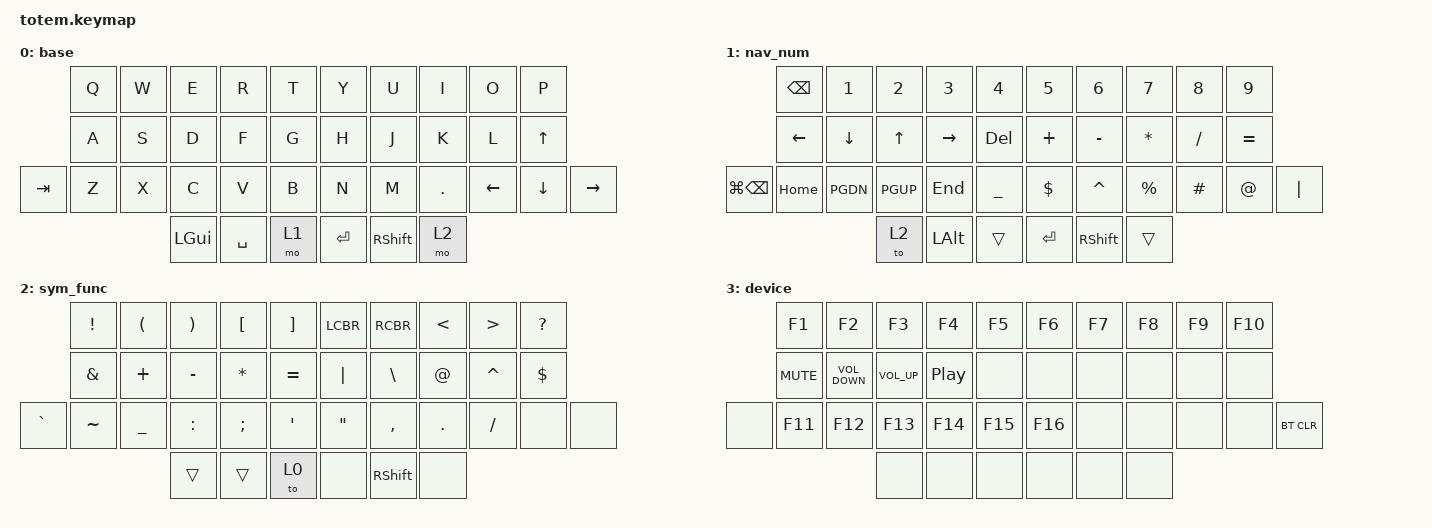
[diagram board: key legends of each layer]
//
//  TOTEM QWERTY PROGRAMMING LAYOUT (ZMK DTS)
//
//  Layers:
//  0 = Base (QWERTY)
//  1 = Nav + Numbers
//  2 = Symbols (coding)
//  3 = Function / System
//

#include <behaviors.dtsi>
#include <dt-bindings/zmk/bt.h>
#include <dt-bindings/zmk/keys.h>

/ {
    keymap {
        compatible = "zmk,keymap";

        //--------------------------------------------------
        // LAYER 0 — BASE QWERTY
        //--------------------------------------------------

        base {
            bindings = <
         &kp Q  &kp W  &kp E     &kp R      &kp T    &kp Y      &kp U            &kp I       &kp O     &kp P
         &kp A  &kp S  &kp D     &kp F      &kp G    &kp H      &kp J            &kp K       &kp L     &kp UP_ARROW
&kp TAB  &kp Z  &kp X  &kp C     &kp V      &kp B    &kp N      &kp M            &kp PERIOD  &kp LEFT  &kp DOWN      &kp RIGHT
                       &kp LGUI  &kp SPACE  &mo 1    &kp ENTER  &kp RIGHT_SHIFT  &mo 2
            >;
        };

        //--------------------------------------------------
        // LAYER 1 — NAV + NUM
        //--------------------------------------------------

        nav_num {
            bindings = <
              &kp BACKSPACE  &kp N1    &kp N2    &kp N3        &kp N4            &kp N5      &kp N6           &kp N7       &kp N8    &kp N9
              &kp LEFT       &kp DOWN  &kp UP    &kp RIGHT     &kp DELETE        &kp PLUS    &kp MINUS        &kp STAR     &kp FSLH  &kp EQUAL
&kp LG(BSPC)  &kp HOME       &kp PGDN  &kp PGUP  &kp END       &kp UNDERSCORE    &kp DOLLAR  &kp CARET        &kp PERCENT  &kp HASH  &kp AT     &kp PIPE
                                       &to 2     &kp LEFT_ALT  &trans            &kp ENTER   &kp RIGHT_SHIFT  &trans
            >;
        };

        //--------------------------------------------------
        // LAYER 2 — SYMBOLS (PROGRAMMING)
        //--------------------------------------------------

        sym_func {
            bindings = <
           &kp EXCL       &kp LPAR        &kp RPAR   &kp LBKT  &kp RBKT     &kp LCBR  &kp RCBR         &kp LESS_THAN  &kp GREATER_THAN  &kp QMARK
           &kp AMPERSAND  &kp PLUS        &kp MINUS  &kp STAR  &kp EQUAL    &kp PIPE  &kp BSLH         &kp AT         &kp CARET         &kp DOLLAR
&kp GRAVE  &kp TILDE      &kp UNDERSCORE  &kp COLON  &kp SEMI  &kp APOS     &kp DQT   &kp COMMA        &kp DOT        &kp FSLH          &none       &none
                                          &trans     &trans    &to 0        &none     &kp RIGHT_SHIFT  &none
            >;
        };

        //--------------------------------------------------
        // LAYER 3 — FUNCTION / SYSTEM / MEDIA
        //--------------------------------------------------

        device {
            bindings = <
       &kp F1      &kp F2             &kp F3           &kp F4            &kp F5     &kp F6   &kp F7  &kp F8  &kp F9  &kp F10
       &kp K_MUTE  &kp C_VOLUME_DOWN  &kp C_VOLUME_UP  &kp C_PLAY_PAUSE  &none      &none    &none   &none   &none   &none
&none  &kp F11     &kp F12            &kp F13          &kp F14           &kp F15    &kp F16  &none   &none   &none   &none    &bt BT_CLR
                                      &none            &none             &none      &none    &none   &none
            >;
        };

        extra1 { status = "reserved"; };

        extra2 { status = "reserved"; };

        extra3 { status = "reserved"; };
    };

    //--------------------------------------------------
    // CONDITIONAL LAYERS EXAMPLE (optional)
    //--------------------------------------------------

    conditional_layers {
        compatible = "zmk,conditional-layers";

        // If both layers 1 and 2 active → enable 3

        device {
            if-layers = <1 2>;
            then-layer = <3>;
        };
    };
};
